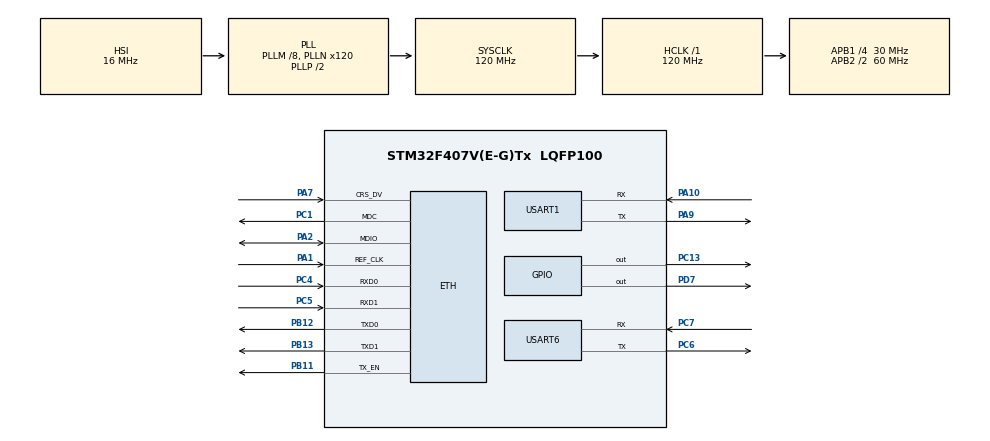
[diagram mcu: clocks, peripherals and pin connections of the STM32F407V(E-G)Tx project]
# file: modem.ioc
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Dma.Request0=USART6_RX
Dma.Request1=USART6_TX
Dma.USART6_RX.0.Direction=DMA_PERIPH_TO_MEMORY
Dma.USART6_RX.0.FIFOMode=DMA_FIFOMODE_DISABLE
Dma.USART6_RX.0.Instance=DMA2_Stream1
Dma.USART6_RX.0.MemDataAlignment=DMA_MDATAALIGN_BYTE
Dma.USART6_RX.0.MemInc=DMA_MINC_ENABLE
Dma.USART6_RX.0.Mode=DMA_CIRCULAR
Dma.USART6_RX.0.PeriphDataAlignment=DMA_PDATAALIGN_BYTE
Dma.USART6_RX.0.PeriphInc=DMA_PINC_DISABLE
Dma.USART6_RX.0.Priority=DMA_PRIORITY_LOW
Dma.USART6_TX.1.Direction=DMA_MEMORY_TO_PERIPH
Dma.USART6_TX.1.FIFOMode=DMA_FIFOMODE_DISABLE
Dma.USART6_TX.1.Instance=DMA2_Stream6
Dma.USART6_TX.1.MemDataAlignment=DMA_MDATAALIGN_BYTE
Dma.USART6_TX.1.MemInc=DMA_MINC_ENABLE
Dma.USART6_TX.1.Mode=DMA_NORMAL
Dma.USART6_TX.1.PeriphDataAlignment=DMA_PDATAALIGN_BYTE
Dma.USART6_TX.1.PeriphInc=DMA_PINC_DISABLE
Dma.USART6_TX.1.Priority=DMA_PRIORITY_LOW
ETH.MediaInterface=HAL_ETH_RMII_MODE
FREERTOS.Tasks01=defaultTask,24,128,StartDefaultTask,Default,NULL,Dynamic,NULL,NULL
LWIP.BSP.number=1
LWIP.PPPOS_SUPPORT=1
LWIP.PPP_SUPPORT=1
LWIP.Version=v2.1.2_Cube
LWIP0.BSP.STBoard=false
LWIP0.BSP.api=BSP_COMPONENT_DRIVER
LWIP0.BSP.component=LAN8742
LWIP0.BSP.instance=LAN8742
LWIP0.BSP.name=Driver_PHY
LWIP0.BSP.semaphore=S_LAN8742
LWIP0.BSP.solution=LAN8742
MBEDTLS.MBEDTLS_TCP_IP=1
MBEDTLS.MBEDTLS_X509_USE_C=1
Mcu.Family=STM32F4
Mcu.Name=STM32F407V(E-G)Tx
Mcu.Package=LQFP100
NVIC.DMA2_Stream1_IRQn=true\:5\:0\:false\:false\:true\:true\:false\:true\:true
NVIC.DMA2_Stream6_IRQn=true\:5\:0\:false\:false\:true\:true\:false\:true\:true
NVIC.ETH_IRQn=true\:5\:0\:false\:false\:true\:true\:false\:true\:true
NVIC.PriorityGroup=NVIC_PRIORITYGROUP_4
NVIC.TIM1_UP_TIM10_IRQn=true\:15\:0\:false\:false\:true\:false\:false\:true\:true
NVIC.TimeBase=TIM1_UP_TIM10_IRQn
NVIC.TimeBaseIP=TIM1
PA1.Mode=RMII
PA1.Signal=ETH_REF_CLK
PA10.Mode=Asynchronous
PA10.Signal=USART1_RX
PA2.Mode=RMII
PA2.Signal=ETH_MDIO
PA7.Mode=RMII
PA7.Signal=ETH_CRS_DV
PA9.Mode=Asynchronous
PA9.Signal=USART1_TX
PB11.Mode=RMII
PB11.Signal=ETH_TX_EN
PB12.Mode=RMII
PB12.Signal=ETH_TXD0
PB13.Mode=RMII
PB13.Signal=ETH_TXD1
PC1.Mode=RMII
PC1.Signal=ETH_MDC
PC13-ANTI_TAMP.Signal=GPIO_Output
PC14-OSC32_IN.Mode=LSE-External-Oscillator
PC14-OSC32_IN.Signal=RCC_OSC32_IN
PC15-OSC32_OUT.Mode=LSE-External-Oscillator
PC15-OSC32_OUT.Signal=RCC_OSC32_OUT
PC4.Mode=RMII
PC4.Signal=ETH_RXD0
PC5.Mode=RMII
PC5.Signal=ETH_RXD1
PC6.Mode=Asynchronous
PC6.Signal=USART6_TX
PC7.Mode=Asynchronous
PC7.Signal=USART6_RX
PD7.Signal=GPIO_Output
PH0-OSC_IN.Mode=HSE-External-Oscillator
PH0-OSC_IN.Signal=RCC_OSC_IN
PH1-OSC_OUT.Mode=HSE-External-Oscillator
PH1-OSC_OUT.Signal=RCC_OSC_OUT
ProjectManager.HeapSize=0x200
ProjectManager.StackSize=0x400
ProjectManager.TargetToolchain=CMake
RCC.48MHZClocksFreq_Value=60000000
RCC.AHBFreq_Value=120000000
RCC.APB1CLKDivider=RCC_HCLK_DIV4
RCC.APB1Freq_Value=30000000
RCC.APB1TimFreq_Value=60000000
RCC.APB2CLKDivider=RCC_HCLK_DIV2
RCC.APB2Freq_Value=60000000
RCC.APB2TimFreq_Value=120000000
RCC.CortexFreq_Value=120000000
RCC.HCLKFreq_Value=120000000
RCC.HSE_VALUE=8000000
RCC.HSI_VALUE=16000000
RCC.PLLM=8
RCC.PLLN=120
RCC.SYSCLKFreq_VALUE=120000000
RCC.SYSCLKSource=RCC_SYSCLKSOURCE_PLLCLK
RCC.VCOOutputFreq_Value=240000000
USART1.VirtualMode=VM_ASYNC
USART6.VirtualMode=VM_ASYNC
VP_FREERTOS_VS_CMSIS_V2.Mode=CMSIS_V2
VP_LWIP_VS_Enabled.Mode=Enabled
VP_MBEDTLS_VS_MBEDTLS.Mode=Enabled
VP_SYS_VS_tim1.Mode=TIM1
board=custom

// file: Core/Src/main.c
/* USER CODE BEGIN Header */
/**
  ******************************************************************************
  * @file           : main.c
  * @brief          : Main program body
  ******************************************************************************
  * @attention
  *
  * Copyright (c) 2024 STMicroelectronics.
  * All rights reserved.
  *
  * This software is licensed under terms that can be found in the LICENSE file
  * in the root directory of this software component.
  * If no LICENSE file comes with this software, it is provided AS-IS.
  *
  ******************************************************************************
  */
/* USER CODE END Header */
#include "main.h"
#include "cmsis_os.h"
#include "mbedtls.h"

/* USER CODE BEGIN Includes */
#include <stdio.h>
#include "ppp_modem.h"
#include "connectionmanager.h"
/* USER CODE END Includes */

UART_HandleTypeDef huart1;
UART_HandleTypeDef huart6;
DMA_HandleTypeDef hdma_usart6_rx;
DMA_HandleTypeDef hdma_usart6_tx;

/* Definitions for defaultTask */
osThreadId_t defaultTaskHandle;
const osThreadAttr_t defaultTask_attributes = {
  .name = "defaultTask",
  .stack_size = 128 * 4,
  .priority = (osPriority_t) osPriorityNormal,
};
/* USER CODE BEGIN PV */
osThreadId_t connmanThreadHandle;
const osThreadAttr_t connmanThread_attributes = {
  .name = "connman",
  .stack_size = 4096,
  .priority = (osPriority_t) osPriorityNormal,
};
/* USER CODE END PV */

void SystemClock_Config(void);
static void MX_GPIO_Init(void);
static void MX_DMA_Init(void);
static void MX_USART1_UART_Init(void);
static void MX_USART6_UART_Init(void);
void StartDefaultTask(void *argument);

/* USER CODE BEGIN PFP */
void pppThreadTask(void *arg);
/* USER CODE END PFP */

/* USER CODE BEGIN 0 */
#define PUTCHAR_PROTOTYPE int __io_putchar(int ch)
PUTCHAR_PROTOTYPE
{
  HAL_UART_Transmit(&huart1, (uint8_t * ) & ch, 1, 0xFFFF);
  return ch;
}
/* USER CODE END 0 */

int main(void)
{

  /* MCU Configuration--------------------------------------------------------*/

  /* Reset of all peripherals, Initializes the Flash interface and the Systick. */
  HAL_Init();

  /* Configure the system clock */
  SystemClock_Config();

  /* Initialize all configured peripherals */
  MX_GPIO_Init();
  MX_DMA_Init();
  MX_USART1_UART_Init();
  MX_USART6_UART_Init();
  /* Call PreOsInit function */
  MX_MBEDTLS_Init();
  /* USER CODE BEGIN 2 */
  printf("\r\n\r\n------------------------------------------------------------------\r\n");
  printf("---- System init ----\r\n");
  /* USER CODE END 2 */

  /* Init scheduler */
  osKernelInitialize();

  /* Create the thread(s) */
  /* creation of defaultTask */
  defaultTaskHandle = osThreadNew(StartDefaultTask, NULL, &defaultTask_attributes);

  /* USER CODE BEGIN RTOS_THREADS */
  /* add threads, ... */
  pppModemInit();
  //connmanThreadHandle = osThreadNew(ConnectionManager, NULL, &connmanThread_attributes);
  /* USER CODE END RTOS_THREADS */

  /* Start scheduler */
  osKernelStart();

  /* We should never get here as control is now taken by the scheduler */

  /* Infinite loop */
  while (1)
  {

  }
}

void SystemClock_Config(void)
{
  RCC_OscInitTypeDef RCC_OscInitStruct = {0};
  RCC_ClkInitTypeDef RCC_ClkInitStruct = {0};

  /** Configure the main internal regulator output voltage
  */
  __HAL_RCC_PWR_CLK_ENABLE();
  __HAL_PWR_VOLTAGESCALING_CONFIG(PWR_REGULATOR_VOLTAGE_SCALE1);

  /** Initializes the RCC Oscillators according to the specified parameters
  * in the RCC_OscInitTypeDef structure.
  */
  RCC_OscInitStruct.OscillatorType = RCC_OSCILLATORTYPE_HSI;
  RCC_OscInitStruct.HSIState = RCC_HSI_ON;
  RCC_OscInitStruct.HSICalibrationValue = RCC_HSICALIBRATION_DEFAULT;
  RCC_OscInitStruct.PLL.PLLState = RCC_PLL_ON;
  RCC_OscInitStruct.PLL.PLLSource = RCC_PLLSOURCE_HSI;
  RCC_OscInitStruct.PLL.PLLM = 8;
  RCC_OscInitStruct.PLL.PLLN = 120;
  RCC_OscInitStruct.PLL.PLLP = RCC_PLLP_DIV2;
  RCC_OscInitStruct.PLL.PLLQ = 4;
  if (HAL_RCC_OscConfig(&RCC_OscInitStruct) != HAL_OK)
  {
    Error_Handler();
  }

  /** Initializes the CPU, AHB and APB buses clocks
  */
  RCC_ClkInitStruct.ClockType = RCC_CLOCKTYPE_HCLK|RCC_CLOCKTYPE_SYSCLK
                              |RCC_CLOCKTYPE_PCLK1|RCC_CLOCKTYPE_PCLK2;
  RCC_ClkInitStruct.SYSCLKSource = RCC_SYSCLKSOURCE_PLLCLK;
  RCC_ClkInitStruct.AHBCLKDivider = RCC_SYSCLK_DIV1;
  RCC_ClkInitStruct.APB1CLKDivider = RCC_HCLK_DIV4;
  RCC_ClkInitStruct.APB2CLKDivider = RCC_HCLK_DIV2;

  if (HAL_RCC_ClockConfig(&RCC_ClkInitStruct, FLASH_LATENCY_3) != HAL_OK)
  {
    Error_Handler();
  }
}

static void MX_USART1_UART_Init(void)
{

  huart1.Instance = USART1;
  huart1.Init.BaudRate = 115200;
  huart1.Init.WordLength = UART_WORDLENGTH_8B;
  huart1.Init.StopBits = UART_STOPBITS_1;
  huart1.Init.Parity = UART_PARITY_NONE;
  huart1.Init.Mode = UART_MODE_TX_RX;
  huart1.Init.HwFlowCtl = UART_HWCONTROL_NONE;
  huart1.Init.OverSampling = UART_OVERSAMPLING_16;
  if (HAL_UART_Init(&huart1) != HAL_OK)
  {
    Error_Handler();
  }

}

static void MX_USART6_UART_Init(void)
{

  huart6.Instance = USART6;
  huart6.Init.BaudRate = 115200;
  huart6.Init.WordLength = UART_WORDLENGTH_8B;
  huart6.Init.StopBits = UART_STOPBITS_1;
  huart6.Init.Parity = UART_PARITY_NONE;
  huart6.Init.Mode = UART_MODE_TX_RX;
  huart6.Init.HwFlowCtl = UART_HWCONTROL_NONE;
  huart6.Init.OverSampling = UART_OVERSAMPLING_16;
  if (HAL_UART_Init(&huart6) != HAL_OK)
  {
    Error_Handler();
  }

}

static void MX_DMA_Init(void)
{

  /* DMA controller clock enable */
  __HAL_RCC_DMA2_CLK_ENABLE();

  /* DMA interrupt init */
  /* DMA2_Stream1_IRQn interrupt configuration */
  HAL_NVIC_SetPriority(DMA2_Stream1_IRQn, 5, 0);
  HAL_NVIC_EnableIRQ(DMA2_Stream1_IRQn);
  /* DMA2_Stream6_IRQn interrupt configuration */
  HAL_NVIC_SetPriority(DMA2_Stream6_IRQn, 5, 0);
  HAL_NVIC_EnableIRQ(DMA2_Stream6_IRQn);

}

static void MX_GPIO_Init(void)
{
  GPIO_InitTypeDef GPIO_InitStruct = {0};

  /* GPIO Ports Clock Enable */
  __HAL_RCC_GPIOC_CLK_ENABLE();
  __HAL_RCC_GPIOH_CLK_ENABLE();
  __HAL_RCC_GPIOA_CLK_ENABLE();
  __HAL_RCC_GPIOB_CLK_ENABLE();
  __HAL_RCC_GPIOD_CLK_ENABLE();

  /*Configure GPIO pin Output Level */
  HAL_GPIO_WritePin(GPIOC, GPIO_PIN_13, GPIO_PIN_RESET);

  /*Configure GPIO pin Output Level */
  HAL_GPIO_WritePin(GPIOD, GPIO_PIN_7, GPIO_PIN_RESET);

  /*Configure GPIO pin : PC13 */
  GPIO_InitStruct.Pin = GPIO_PIN_13;
  GPIO_InitStruct.Mode = GPIO_MODE_OUTPUT_PP;
  GPIO_InitStruct.Pull = GPIO_NOPULL;
  GPIO_InitStruct.Speed = GPIO_SPEED_FREQ_LOW;
  HAL_GPIO_Init(GPIOC, &GPIO_InitStruct);

  /*Configure GPIO pin : PD7 */
  GPIO_InitStruct.Pin = GPIO_PIN_7;
  GPIO_InitStruct.Mode = GPIO_MODE_OUTPUT_OD;
  GPIO_InitStruct.Pull = GPIO_NOPULL;
  GPIO_InitStruct.Speed = GPIO_SPEED_FREQ_LOW;
  HAL_GPIO_Init(GPIOD, &GPIO_InitStruct);

}

void StartDefaultTask(void *argument)
{
  /* USER CODE BEGIN 5 */
  (void)argument;
  /* Infinite loop */
  for(;;)
  {
    HAL_GPIO_WritePin(GPIOC, GPIO_PIN_13, GPIO_PIN_SET);
    osDelay(100);
    HAL_GPIO_WritePin(GPIOC, GPIO_PIN_13, GPIO_PIN_RESET);
    osDelay(100);
  }
  /* USER CODE END 5 */
}

void HAL_TIM_PeriodElapsedCallback(TIM_HandleTypeDef *htim)
{
  if (htim->Instance == TIM1) {
    HAL_IncTick();
  }
}

void Error_Handler(void)
{
  __disable_irq();
  while (1)
  {
  }
}
